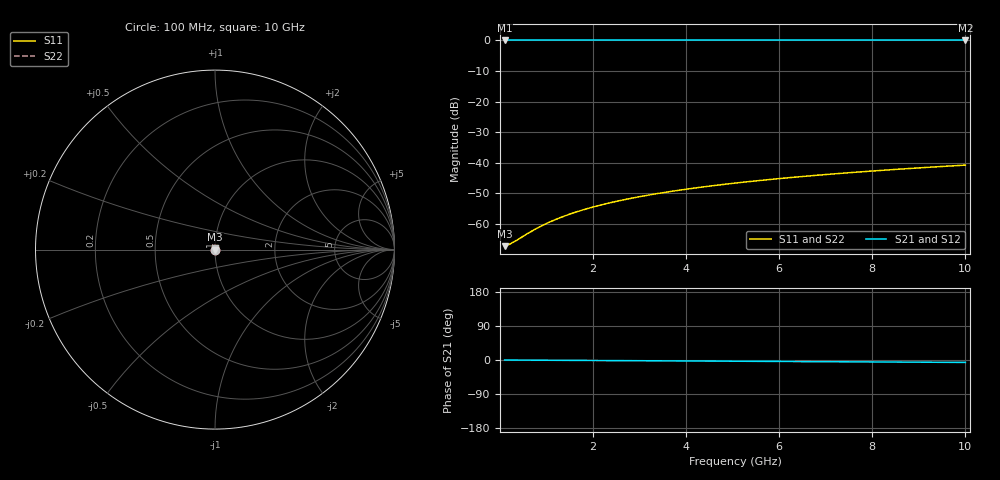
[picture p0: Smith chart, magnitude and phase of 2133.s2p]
# Hz S RI R 50.00
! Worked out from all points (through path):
!   100 points, 100 MHz to 10 GHz, reference 50 ohm
!   highest |S21| = 0.00 dB at 100 MHz (marker M1); lowest = 0.0 dB at 10 GHz (marker M2)
!   lowest |S11| = -67.3 dB at 100 MHz (marker M3), VSWR 1.00, Z = 50 + j0.00916 ohm
!   |S11| at or under -10 dB: start of sweep to end of sweep
!   |S22| runs from -67.3 to -40.8 dB; largest |S21 - S12| = 0
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1e8  0.000423 9.15e-05  0.9996 -0.00111  0.9996 -0.00111  0.000423 9.15e-05
2e8  0.000425 0.000183  0.9996 -0.00222  0.9996 -0.00222  0.000425 0.000183
3e8  0.000427 0.000274  0.9996 -0.00333  0.9996 -0.00333  0.000427 0.000274
7e8  0.000435 0.00064  0.9995 -0.00777  0.9995 -0.00777  0.000435 0.00064
8e8  0.000437 0.000732  0.9995 -0.00888  0.9995 -0.00888  0.000437 0.000732
1e9  0.000442 0.000914  0.9995 -0.0111  0.9995 -0.0111  0.000442 0.000914
1.2e9  0.000447 0.0011  0.9995 -0.0133  0.9995 -0.0133  0.000447 0.0011
1.4e9  0.000453 0.00128  0.9994 -0.0155  0.9994 -0.0155  0.000453 0.00128
1.6e9  0.00046 0.00146  0.9994 -0.0178  0.9994 -0.0178  0.00046 0.00146
1.8e9  0.000467 0.00164  0.9993 -0.02  0.9993 -0.02  0.000467 0.00164
2.1e9  0.00048 0.00192  0.9993 -0.0233  0.9993 -0.0233  0.00048 0.00192
2.5e9  0.000499 0.00228  0.9992 -0.0278  0.9992 -0.0278  0.000499 0.00228
2.9e9  0.000522 0.00264  0.999 -0.0322  0.999 -0.0322  0.000522 0.00264
3.4e9  0.000554 0.0031  0.9988 -0.0378  0.9988 -0.0378  0.000554 0.0031
3.8e9  0.000583 0.00346  0.9986 -0.0422  0.9986 -0.0422  0.000583 0.00346
4.2e9  0.000616 0.00382  0.9984 -0.0467  0.9984 -0.0467  0.000616 0.00382
5.1e9  0.000701 0.00464  0.9979 -0.0567  0.9979 -0.0567  0.000701 0.00464
5.9e9  0.000791 0.00536  0.9973 -0.0656  0.9973 -0.0656  0.000791 0.00536
6.7e9  0.000893 0.00608  0.9967 -0.0745  0.9967 -0.0745  0.000893 0.00608
7.5e9  0.00101 0.00679  0.996 -0.0834  0.996 -0.0834  0.00101 0.00679
8.4e9  0.00115 0.0076  0.9951 -0.0935  0.9951 -0.0935  0.00115 0.0076
1e10  0.00145 0.00904  0.9932 -0.1113  0.9932 -0.1113  0.00145 0.00904
